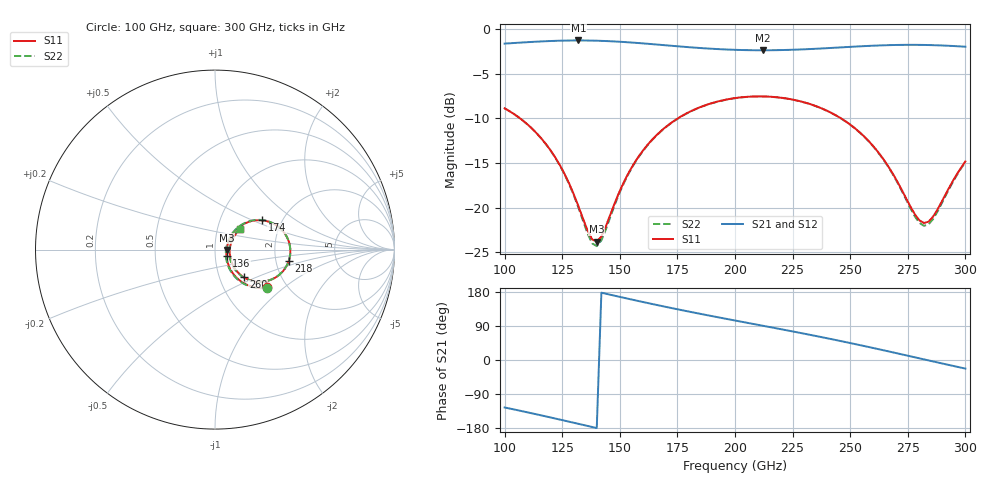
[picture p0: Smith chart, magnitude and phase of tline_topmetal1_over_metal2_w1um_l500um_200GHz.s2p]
#  GHZ S DB R 50
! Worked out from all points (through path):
!   101 points, 100 GHz to 300 GHz, reference 50 ohm
!   highest |S21| = -1.27 dB at 132 GHz (marker M1); lowest = -2.4 dB at 212 GHz (marker M2)
!   group delay of S21, straight-line fit = 3.5 ps
!   lowest |S11| = -23.8 dB at 140 GHz (marker M3), VSWR 1.14, Z = 56.9 - j0.185 ohm
!   |S11| at or under -10 dB: 106.7 GHz to 175.2 GHz (68.49 GHz wide, 48.6 % of centre); 246.1 GHz to end of sweep
!   |S22| runs from -24.3 to -7.5 dB; largest |S21 - S12| = 1.5e-12
!   S11 on the Smith chart (normalised r, x): 100 GHz: 1.60, -0.77; 136 GHz: 1.13, -0.09; 174 GHz: 1.59, +0.57; 218 GHz: 2.35, -0.37; 260 GHz: 1.30, -0.42; 300 GHz: 1.29, +0.30
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100  -8.87 -35.7  -1.62 -125.3  -1.62 -125.3  -8.87 -36.2
118  -12.90 -50.9  -1.35 -149.0  -1.35 -149.0  -12.91 -51.7
126  -16.21 -52.8  -1.29 -160.0  -1.29 -160.0  -16.26 -54.1
132  -19.81 -46.0  -1.27 -168.4  -1.27 -168.4  -19.97 -47.8
134  -21.21 -39.9  -1.27 -171.2  -1.27 -171.2  -21.44 -41.8
136  -22.55 -30.5  -1.28 -174.0  -1.28 -174.0  -22.89 -32.2
140  -23.81 -1.4  -1.30 -179.6  -1.30 -179.6  -24.31 -1.6
142  -23.22 13.5  -1.32 177.6  -1.32 177.6  -23.67 14.3
154  -16.01 43.2  -1.48 161.1  -1.48 161.1  -16.11 44.3
168  -11.38 36.8  -1.77 142.7  -1.77 142.7  -11.42 37.4
174  -10.20 31.8  -1.90 135.2  -1.90 135.2  -10.22 32.3
200  -7.73 7.9  -2.32 104.2  -2.32 104.2  -7.74 8.1
212  -7.54 -3.3  -2.37 90.5  -2.37 90.5  -7.55 -3.2
218  -7.63 -9.0  -2.36 83.5  -2.36 83.5  -7.64 -8.9
234  -8.52 -23.8  -2.21 64.7  -2.21 64.7  -8.53 -23.9
248  -10.33 -36.1  -2.02 47.3  -2.02 47.3  -10.34 -36.3
260  -13.11 -43.9  -1.86 31.7  -1.86 31.7  -13.14 -44.3
268  -15.98 -44.2  -1.79 20.9  -1.79 20.9  -16.05 -44.9
278  -20.72 -24.6  -1.76 7.2  -1.76 7.2  -20.95 -25.3
282  -21.72 -4.8  -1.77 1.7  -1.77 1.7  -22.03 -4.8
286  -21.00 15.9  -1.80 -3.8  -1.80 -3.8  -21.27 16.7
300  -14.82 39.0  -1.97 -22.7  -1.97 -22.7  -14.89 39.9
